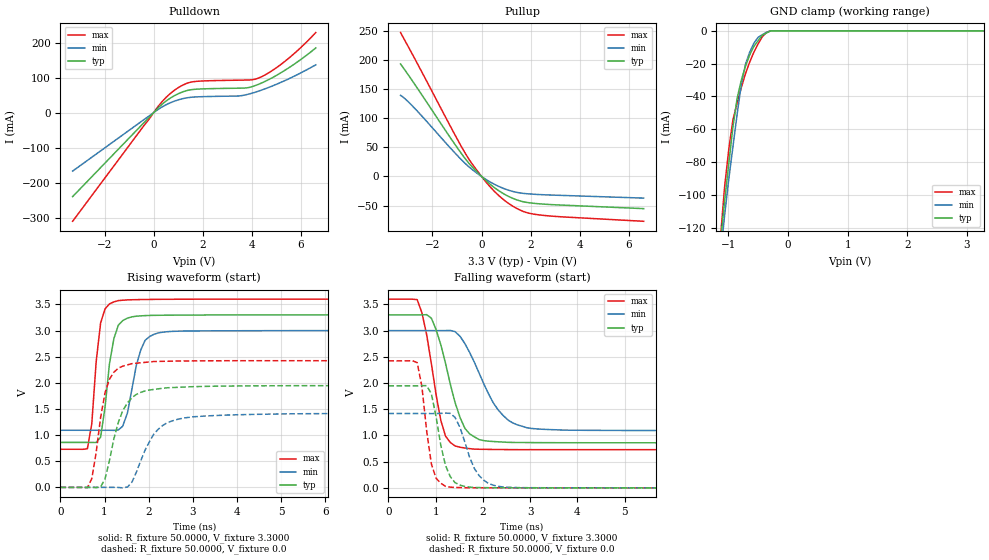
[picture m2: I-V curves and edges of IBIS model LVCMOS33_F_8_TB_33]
| [Disclaimer]
| Copyright 2006, Xilinx Inc., All rights reserved
| [Copyright]
| From Controller.ibs, Spartan-3A, Xilinx Inc.
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|   Model LVCMOS33_F_8_TB_33
[Model]  LVCMOS33_F_8_TB_33
Model_type I/O
Polarity   Non-Inverting
Enable   Active-Low
Vinl =   0.8000V
Vinh =   2.0000V
Vmeas =  1.6500V
Cref =   0.0F
Rref =   1.0000M
Vref =   0.0V
C_comp   6.5640pF   6.1748pF   7.0674pF
[Temperature Range]   27.0000   85.0000   0.0
[Voltage Range]   3.3000V   3.0000V   3.6000V
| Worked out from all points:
|   slope of the pulldown table from 0 to 0.495 V, typ, clamps not added: 15.3 ohm
|   slope of the pullup table from 0 to 0.495 V, typ, clamps not added: 27.1 ohm
|   GND clamp passes 1 mA (typ) near -0.34 V on its own axis
|   rising waveform, R_fixture 50.0000, V_fixture 3.3000: 20-80 % time 225ps typ, 286ps min, 177ps max; typ from 0.86 V to 3.3 V
|   rising waveform, R_fixture 50.0000, V_fixture 0.0: 20-80 % time 401ps typ, 530ps min, 287ps max; typ from 0 V to 1.95 V
|   falling waveform, R_fixture 50.0000, V_fixture 3.3000: 20-80 % time 434ps typ, 638ps min, 321ps max; typ from 3.3 V to 0.86 V
|   falling waveform, R_fixture 50.0000, V_fixture 0.0: 20-80 % time 263ps typ, 359ps min, 197ps max; typ from 1.95 V to 0 V
[Pulldown]
|Voltage   I(typ)   I(min)   I(max)
-3.3V     -240.1mA   -167.1mA   -310.4mA
200mV     14.57mA    9.891mA    19.24mA
800mV     46.47mA    31.47mA    61.36mA
1.2V      59.52mA    40.02mA    78.9mA
1.6V      65.99mA    44.18mA    88.04mA
3.5V      69.7mA     47.68mA    92.59mA
3.9V      72mA       53.35mA    93.17mA
4.3V      81.62mA    61.99mA    99.47mA
4.8V      98.5mA     75.07mA    118.7mA
5.4V      123.3mA    93.2mA     149.5mA
6V        152mA      113.7mA    186.3mA
6.6V      184.6mA    136.3mA    228.5mA
[Pullup]
|Voltage   I(typ)   I(min)   I(max)
-3.3V     193.2mA    139.4mA    247.1mA
-2.7V     156.9mA    116mA      200.6mA
-1.2V     62.17mA    45.67mA    80.64mA
-600mV    27.01mA    19.72mA    35.36mA
-400mV    17.23mA    12.5mA     22.51mA
200mV     -7.97mA    -5.628mA   -10.57mA
500mV     -18.44mA   -12.94mA   -24.58mA
900mV     -29.72mA   -20.62mA   -39.94mA
1.2V      -36.23mA   -24.85mA   -49.09mA
1.6V      -42.37mA   -28.47mA   -58.28mA
2.2V      -46.37mA   -30.7mA    -65.15mA
6.6V      -55.21mA   -37.14mA   -76.96mA
[GND_clamp]
|Voltage   I(typ)   I(min)   I(max)
-3.3V     -1A        -900mA     -1.15A
-1.13V    -128.6mA   -136.9mA   -126mA
-1.06V    -103.6mA   -112.3mA   -94.8mA
-990mV    -80.74mA   -90.11mA   -72mA
-920mV    -58.26mA   -70.33mA   -54mA
-850mV    -41mA      -50.55mA   -44mA
-780mV    -30mA      -32.5mA    -34.5mA
-710mV    -21.5mA    -20.25mA   -26mA
-570mV    -9.5mA     -7.5mA     -13mA
-430mV    -2.75mA    -2.4mA     -3.625mA
-360mV    -1.333mA   -1mA       -1mA
3.28V     0A         0A         0A
[POWER_clamp]
|Voltage   I(typ)   I(min)   I(max)
-3.28V    0A         0A         0A
-3.24V    0A         0A         0A
-3.2V     0A         0A         0A
0V        0A         0A         0A
[Ramp]
dV/dt_r  1.1676/0.3952n   0.8502/0.5302n   1.4532/0.2868n
dV/dt_f  1.4641/0.4241n   1.1448/0.6383n   1.7227/0.3214n
R_load = 50.0000
[Rising Waveform]
R_fixture= 50.0000
V_fixture= 3.3000
V_fixture_min= 3.0000
V_fixture_max= 3.6000
|time   V(typ)   V(min)   V(max)
0s        859.8mV    1.092V     728.8mV
610ps     859.8mV    1.092V     738.7mV
710ps     859mV      1.092V     1.217V
810ps     858.8mV    1.092V     2.408V
910ps     961.5mV    1.092V     3.145V
1.21ns    2.843V     1.09V      3.547V
1.52ns    3.238V     1.429V     3.586V
1.82ns    3.28V      2.63V      3.592V
2.22ns    3.291V     2.955V     3.596V
10ns      3.3V       2.999V     3.6V
[Rising Waveform]
R_fixture= 50.0000
V_fixture= 0.0
|time   V(typ)   V(min)   V(max)
0s        0V         0V         0V
610ps     4.524uV    0V         -5.905mV
710ps     173.3uV    0V         168.1mV
1.01ns    163.5mV    -1.492uV   1.809V
1.21ns    927mV      179.5uV    2.202V
1.41ns    1.465V     -9.234mV   2.318V
1.62ns    1.716V     100.1mV    2.366V
2.12ns    1.874V     1.026V     2.407V
2.73ns    1.916V     1.316V     2.417V
10ns      1.946V     1.417V     2.422V
[Falling Waveform]
R_fixture= 50.0000
V_fixture= 3.3000
V_fixture_min= 3.0000
V_fixture_max= 3.6000
|time   V(typ)   V(min)   V(max)
0s        3.3V       3V         3.6V
610ps     3.299V     3V         3.59V
910ps     3.236V     3V         2.369V
1.11ns    2.73V      2.999V     1.287V
1.41ns    1.631V     2.981V     799.5mV
1.62ns    1.134V     2.75V      760.4mV
1.92ns    921.2mV    2.19V      736.3mV
2.32ns    878.9mV    1.491V     731.7mV
2.93ns    864.2mV    1.147V     729.2mV
10ns      859.8mV    1.092V     728.8mV
[Falling Waveform]
R_fixture= 50.0000
V_fixture= 0.0
|time   V(typ)   V(min)   V(max)
0s        1.946V     1.418V     2.422V
610ps     1.946V     1.418V     2.389V
710ps     1.951V     1.418V     1.929V
910ps     1.796V     1.417V     455.4mV
1.01ns    1.354V     1.418V     182.4mV
1.21ns    425.9mV    1.426V     28.87mV
1.41ns    100.5mV    1.345V     7.589mV
1.92ns    5.346mV    232.8mV    1.259mV
2.32ns    1.887mV    29.1mV     382.4uV
10ns      13.08uV    -14.67uV   -9.414uV
